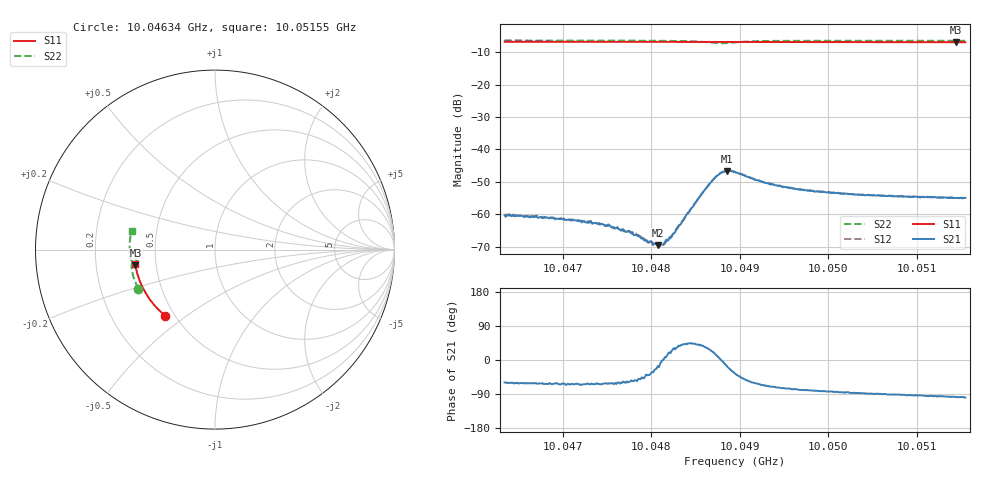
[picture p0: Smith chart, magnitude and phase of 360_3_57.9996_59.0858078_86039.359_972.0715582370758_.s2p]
#  HZ  S  RI  R  50.00
! Rohde & Schwarz Vector Network Analyzer
! Rohde-Schwarz,ZNB20-2Port,1311601062101988,3.16
! Created: UTC 3/21/2024, 1:06:23 AM
! freq[Hz]  re:S11  im:S11  re:S21  im:S21  re:S12  im:S12  re:S22  im:S22
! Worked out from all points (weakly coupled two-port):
!   401 points, 10.04634 GHz to 10.05155 GHz, reference 50 ohm
!   highest |S21| = -46.61 dB at 10.04885 GHz (marker M1); lowest = -69.6 dB at 10.04807 GHz (marker M2)
!   lowest |S11| = -6.9 dB at 10.05144 GHz (marker M3), VSWR 2.65, Z = 19 - j4.17 ohm
!   |S11| at or under -10 dB: nowhere
!   |S22| runs from -7.2 to -6.4 dB; largest |S21 - S12| = 0.00033
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1.0046345e10  -0.2762 -0.3692  0.000491 -0.000824  0.000549 -0.000806  -0.4289 -0.2181
1.004667e10  -0.2927 -0.3553  0.000432 -0.000796  0.000485 -0.000805  -0.4378 -0.198
1.0047216e10  -0.3188 -0.3304  0.000322 -0.000679  0.000393 -0.000684  -0.4508 -0.1632
1.0047437e10  -0.329 -0.32  0.000313 -0.000639  0.000394 -0.000602  -0.4553 -0.1487
1.0047762e10  -0.3429 -0.3037  0.000291 -0.000443  0.000348 -0.000418  -0.4608 -0.1263
1.0047853e10  -0.3467 -0.299  0.000295 -0.000352  0.000338 -0.000343  -0.4619 -0.1196
1.0047944e10  -0.3505 -0.2943  0.000311 -0.000246  0.000311 -0.000245  -0.4631 -0.1129
1.0048074e10  -0.3557 -0.2877  0.00032 -9.34e-05  0.000339 -9.38e-05  -0.4644 -0.1031
1.0048087e10  -0.3562 -0.2869  0.000336 -0.000113  0.000338 -6.6e-05  -0.4645 -0.1021
1.0048139e10  -0.3585 -0.2842  0.00034 5.72e-06  0.000344 1.79e-05  -0.4648 -0.0979
1.0048243e10  -0.3624 -0.2786  0.000438 0.000236  0.000424 0.000254  -0.4648 -0.0893
1.004853e10  -0.3731 -0.2631  0.00131 0.00114  0.00126 0.0012  -0.458 -0.0633
1.0048699e10  -0.3788 -0.2537  0.00319 0.00122  0.00314 0.00139  -0.4409 -0.0544
1.0048777e10  -0.3815 -0.2494  0.00424 0.000226  0.00427 0.000504  -0.4327 -0.06
1.0048855e10  -0.3841 -0.2452  0.00449 -0.00129  0.00457 -0.00102  -0.4332 -0.0704
1.0048946e10  -0.3873 -0.2402  0.00361 -0.00261  0.00385 -0.00238  -0.4437 -0.0759
1.004918e10  -0.395 -0.2268  0.00163 -0.00299  0.00179 -0.00291  -0.4649 -0.0615
1.0049401e10  -0.4017 -0.2141  0.000896 -0.00266  0.00106 -0.00266  -0.4722 -0.0428
1.0049817e10  -0.4132 -0.1891  0.000393 -0.00225  0.000512 -0.00225  -0.4762 -0.011
1.0050688e10  -0.4325 -0.1352  -2.77e-05 -0.00194  8.51e-05 -0.00194  -0.4742 0.0496
1.0051443e10  -0.4435 -0.0872  -0.000244 -0.00177  -0.000121 -0.00179  -0.4659 0.0994
1.0051547e10  -0.4448 -0.0806  -0.000284 -0.00177  -0.000147 -0.00177  -0.4643 0.106
